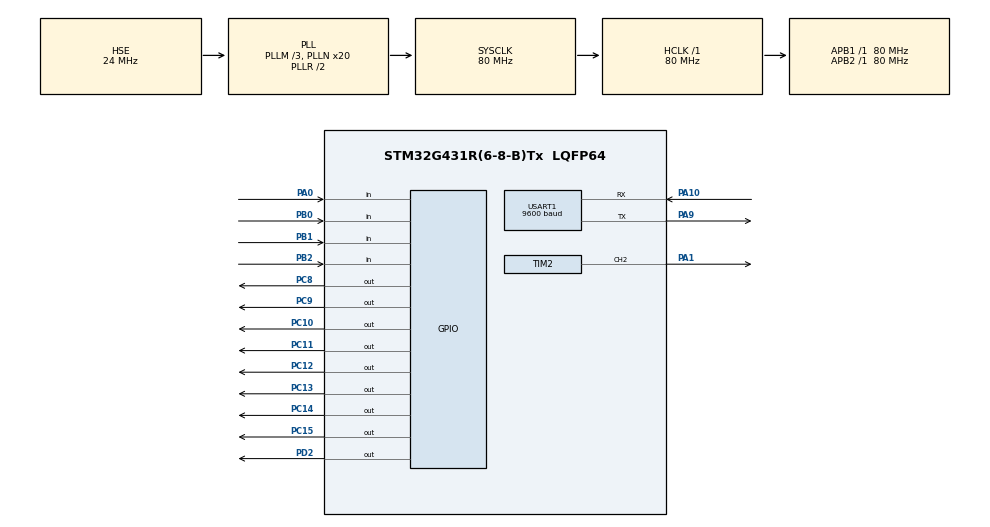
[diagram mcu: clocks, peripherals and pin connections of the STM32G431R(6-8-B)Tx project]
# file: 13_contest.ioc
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Mcu.Family=STM32G4
Mcu.Name=STM32G431R(6-8-B)Tx
Mcu.Package=LQFP64
NVIC.PriorityGroup=NVIC_PRIORITYGROUP_4
NVIC.TIM2_IRQn=true\:0\:0\:false\:false\:true\:true\:true\:true
NVIC.TIM4_IRQn=true\:0\:0\:false\:false\:true\:true\:true\:true
NVIC.USART1_IRQn=true\:0\:0\:false\:false\:true\:true\:true\:true
PA0.GPIO_PuPd=GPIO_PULLUP
PA0.Signal=GPIO_Input
PA1.Signal=S_TIM2_CH2
PA10.Mode=Asynchronous
PA10.Signal=USART1_RX
PA13.Mode=Serial_Wire
PA13.Signal=SYS_JTMS-SWDIO
PA14.Mode=Serial_Wire
PA14.Signal=SYS_JTCK-SWCLK
PA9.Mode=Asynchronous
PA9.Signal=USART1_TX
PB0.GPIO_PuPd=GPIO_PULLUP
PB0.Signal=GPIO_Input
PB1.GPIO_PuPd=GPIO_PULLUP
PB1.Signal=GPIO_Input
PB2.GPIO_PuPd=GPIO_PULLUP
PB2.Signal=GPIO_Input
PC10.PinState=GPIO_PIN_SET
PC10.Signal=GPIO_Output
PC11.PinState=GPIO_PIN_SET
PC11.Signal=GPIO_Output
PC12.PinState=GPIO_PIN_SET
PC12.Signal=GPIO_Output
PC13.PinState=GPIO_PIN_SET
PC13.Signal=GPIO_Output
PC14-OSC32_IN.PinState=GPIO_PIN_SET
PC14-OSC32_IN.Signal=GPIO_Output
PC15-OSC32_OUT.PinState=GPIO_PIN_SET
PC15-OSC32_OUT.Signal=GPIO_Output
PC8.PinState=GPIO_PIN_SET
PC8.Signal=GPIO_Output
PC9.PinState=GPIO_PIN_SET
PC9.Signal=GPIO_Output
PD2.Signal=GPIO_Output
PF0-OSC_IN.Mode=HSE-External-Oscillator
PF0-OSC_IN.Signal=RCC_OSC_IN
PF1-OSC_OUT.Mode=HSE-External-Oscillator
PF1-OSC_OUT.Signal=RCC_OSC_OUT
ProjectManager.HeapSize=0x200
ProjectManager.StackSize=0x400
ProjectManager.TargetToolchain=MDK-ARM V5
RCC.ADC12Freq_Value=80000000
RCC.AHBFreq_Value=80000000
RCC.APB1Freq_Value=80000000
RCC.APB1TimFreq_Value=80000000
RCC.APB2Freq_Value=80000000
RCC.APB2TimFreq_Value=80000000
RCC.CortexFreq_Value=80000000
RCC.EXTERNAL_CLOCK_VALUE=12288000
RCC.HCLKFreq_Value=80000000
RCC.HSE_VALUE=24000000
RCC.HSI48_VALUE=48000000
RCC.HSI_VALUE=16000000
RCC.LSE_VALUE=32768
RCC.PLLM=RCC_PLLM_DIV3
RCC.PLLN=20
RCC.PLLSourceVirtual=RCC_PLLSOURCE_HSE
RCC.SYSCLKFreq_VALUE=80000000
RCC.SYSCLKSource=RCC_SYSCLKSOURCE_PLLCLK
RCC.USBFreq_Value=80000000
RCC.VCOOutputFreq_Value=160000000
SH.S_TIM2_CH2.0=TIM2_CH2,PWM Generation2 CH2
TIM2.Channel-PWM\ Generation2\ CH2=TIM_CHANNEL_2
TIM2.PeriodNoDither=1000-1
TIM2.Prescaler=80-1
TIM2.PulseNoDither_2=10
TIM4.PeriodNoDither=10000-1
TIM4.Prescaler=79
USART1.BaudRate=9600
USART1.VirtualMode-Asynchronous=VM_ASYNC
VP_SYS_VS_DBSignals.Mode=DisableDeadBatterySignals
VP_TIM2_VS_ClockSourceINT.Mode=Internal
VP_TIM4_VS_ClockSourceINT.Mode=Internal
board=custom

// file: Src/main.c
/* USER CODE BEGIN Header */
/**
 ******************************************************************************
 * @file           : main.c
 * @brief          : Main program body
 ******************************************************************************
 * @attention
 *
 * <h2><center>&copy; Copyright (c) 2023 STMicroelectronics.
 * All rights reserved.</center></h2>
 *
 * This software component is licensed by ST under BSD 3-Clause license,
 * the "License"; You may not use this file except in compliance with the
 * License. You may obtain a copy of the License at:
 *                        opensource.org/licenses/BSD-3-Clause
 *
 ******************************************************************************
 */
/* USER CODE END Header */
#include "main.h"
#include "tim.h"
#include "usart.h"
#include "gpio.h"

/* USER CODE BEGIN Includes */
#include "lcd_hal.h"
#include "stdio.h"
#include "string.h"
#include "interrupt.h"

extern struct keys key[5];
extern char re_date[30];
extern unsigned char rx_str;
extern uint8_t rx_date;

extern uint16_t led_tt;
extern uint16_t led_ref;
extern uint8_t led_5;

uint8_t LCD_show = 0;

char lcd_txt[30];
struct bpsd {
    unsigned char bpsd_1;
    unsigned char bpsd_2;
};

bool password_right = 0;

char password_text[4]   = {'0', '0', '0', '\0'};
char password[4]        = {'1', '2', '3', '\0'};
char password_incorrect = 0;
char incorrect_ref      = 0;

struct bpsd psd[3] = {0, 0};

/* USER CODE END Includes */

void SystemClock_Config(void);

/* USER CODE BEGIN 0 */
void LCD_Display()
{
    if (LCD_show == 0) {
        sprintf(lcd_txt, "       PSD          ");
        LCD_DisplayStringLine(Line1, (uint8_t *)lcd_txt);
        if (psd[0].bpsd_1 == 0) {
            sprintf(lcd_txt, "    B1:@           ");
            LCD_DisplayStringLine(Line3, (uint8_t *)lcd_txt);
        }
        if (psd[1].bpsd_1 == 0) {
            sprintf(lcd_txt, "    B2:@           ");
            LCD_DisplayStringLine(Line4, (uint8_t *)lcd_txt);
        }
        if (psd[2].bpsd_1 == 0) {
            sprintf(lcd_txt, "    B3:@           ");
            LCD_DisplayStringLine(Line5, (uint8_t *)lcd_txt);
        }
        if (psd[0].bpsd_1 != 0) {
            sprintf(lcd_txt, "    B1:%c           ", psd[0].bpsd_1);
            LCD_DisplayStringLine(Line3, (uint8_t *)lcd_txt);
        }
        if (psd[1].bpsd_1 != 0) {
            sprintf(lcd_txt, "    B2:%c           ", psd[1].bpsd_1);
            LCD_DisplayStringLine(Line4, (uint8_t *)lcd_txt);
        }
        if (psd[2].bpsd_1 != 0) {
            sprintf(lcd_txt, "    B3:%c           ", psd[2].bpsd_1);
            LCD_DisplayStringLine(Line5, (uint8_t *)lcd_txt);
        }
    } else if (LCD_show == 1) {
        sprintf(lcd_txt, "       STA          ");
        LCD_DisplayStringLine(Line1, (uint8_t *)lcd_txt);
        sprintf(lcd_txt, "    F:2000HZ        ");
        LCD_DisplayStringLine(Line3, (uint8_t *)lcd_txt);
        sprintf(lcd_txt, "    F:10%%          ");
        LCD_DisplayStringLine(Line4, (uint8_t *)lcd_txt);
        sprintf(lcd_txt, "                    ");
        LCD_DisplayStringLine(Line5, (uint8_t *)lcd_txt);
    }
}
void pds_real()
{
    for (int i = 0; i < 3; i++) {
        switch (psd[i].bpsd_2) {
            case 1:
                psd[i].bpsd_1 = '0';
                break;
            case 2:
                psd[i].bpsd_1 = '1';
                break;
            case 3:
                psd[i].bpsd_1 = '2';
                break;
            case 4:
                psd[i].bpsd_1 = '3';
                break;
            case 5:
                psd[i].bpsd_1 = '4';
                break;
            case 6:
                psd[i].bpsd_1 = '5';
                break;
            case 7:
                psd[i].bpsd_1 = '6';
                break;
            case 8:
                psd[i].bpsd_1 = '7';
                break;
            case 9:
                psd[i].bpsd_1 = '8';
                break;
            case 10:
                psd[i].bpsd_1 = '9';
                break;
        }
    }
}
void scan_real()
{
    if (key[0].sing_flag == 1) {
        if (LCD_show == 0) {
            psd[0].bpsd_2++;
            if (psd[0].bpsd_2 == 11) psd[0].bpsd_2 = 1;
        }
        key[0].sing_flag = 0;
    }
    if (key[1].sing_flag == 1) {
        if (LCD_show == 0) {
            psd[1].bpsd_2++;
            if (psd[1].bpsd_2 == 11) psd[1].bpsd_2 = 1;
        }
        key[1].sing_flag = 0;
    }
    if (key[2].sing_flag == 1) {
        if (LCD_show == 0) {
            psd[2].bpsd_2++;
            if (psd[2].bpsd_2 == 11) psd[2].bpsd_2 = 1;
        }
        key[2].sing_flag = 0;
    }
    if (key[3].sing_flag == 1) {
        if ((psd[0].bpsd_1 == password[0]) && (psd[1].bpsd_1 == password[1]) && (psd[2].bpsd_1 == password[2])) {
            password_right = 1;
            led_5          = 0;
            led_ref        = 0;
            if (++LCD_show == 2) {
                LCD_show       = 0;
                password_right = 0;
                psd[0].bpsd_1  = 0;
                psd[0].bpsd_2  = 0;
                psd[1].bpsd_1  = 0;
                psd[1].bpsd_2  = 0;
                psd[2].bpsd_1  = 0;
                psd[2].bpsd_2  = 0;
            }
        } else if ((psd[0].bpsd_1 != password[0]) || (psd[1].bpsd_1 != password[1]) || (psd[2].bpsd_1 != password[2])) {
            psd[0].bpsd_1 = 0;
            psd[0].bpsd_2 = 0;
            psd[1].bpsd_1 = 0;
            psd[1].bpsd_2 = 0;
            psd[2].bpsd_1 = 0;
            psd[2].bpsd_2 = 0;
            password_incorrect++;
            if (password_incorrect == 3) {
                password_incorrect = 0;
                incorrect_ref      = 1;
                led_ref            = 0;
            }
        }
        key[3].sing_flag = 0;
    }
}

void Receive_real()
{
    if (rx_str > 0) {
        if (rx_str == 7) {
            sscanf(re_date, "%3s", password_text);
            if ((password_text[0] == password[0]) && (password_text[1] == password[1]) && (password_text[2] == password[2])) {
                sscanf(re_date, "%*[^-]-%s", password);
                sprintf(lcd_txt, "change password successful\r\n");
                HAL_UART_Transmit(&huart1, (uint8_t *)lcd_txt, strlen(lcd_txt), 50);
            } else if ((password_text[0] != password[0]) || (password_text[1] != password[1]) || (password_text[2] != password[2])) {
                sprintf(lcd_txt, "password Error\r\n");
                HAL_UART_Transmit(&huart1, (uint8_t *)lcd_txt, strlen(lcd_txt), 50);
            }
        } else {
            sprintf(lcd_txt, "Error!!!\r\n");
            HAL_UART_Transmit(&huart1, (uint8_t *)lcd_txt, strlen(lcd_txt), 50);
        }
        rx_str = 0;
        memset(re_date, 0, 30);
    }
}
/* USER CODE END 0 */

int main(void)
{

    /* MCU Configuration--------------------------------------------------------*/

    /* Reset of all peripherals, Initializes the Flash interface and the Systick. */
    HAL_Init();

    /* Configure the system clock */
    SystemClock_Config();

    /* Initialize all configured peripherals */
    MX_GPIO_Init();
    MX_USART1_UART_Init();
    MX_TIM2_Init();
    MX_TIM4_Init();
    /* USER CODE BEGIN 2 */
    HAL_TIM_Base_Start_IT(&htim4);
    HAL_TIM_PWM_Start(&htim2, TIM_CHANNEL_2);
    __HAL_TIM_SetCompare(&htim2, TIM_CHANNEL_2, 500);

    LED_real(0x01);

    LCD_Init();
    LCD_Clear(Black);
    LCD_SetTextColor(White);
    LCD_SetBackColor(Black);
    HAL_UART_Receive_IT(&huart1, &rx_date, 1);

    //	sscanf((char*)123,"%3s",password);
    /* USER CODE END 2 */

    /* Infinite loop */
    /* USER CODE BEGIN WHILE */
    while (1) {
        LCD_Display();
        pds_real();
        scan_real();
        if (rx_str != 0) {
            int temp = rx_date;
            HAL_Delay(1);
            if (temp == rx_date) Receive_real();
        }
        if (incorrect_ref == 1) {
            if (led_tt <= 10) {
                LED_real(0x02);
            } else if (led_tt > 10) {
                LED_real(0x00);
            }
            if (led_5 == 1) {
                incorrect_ref = 0;
                LED_real(0x00);
                led_5 = 0;
            }
        }
        if (password_right == 1) {
            LED_real(0x01);
            __HAL_TIM_SetCompare(&htim2, TIM_CHANNEL_2, 50);
            if (led_5 == 1) {
                password_right = 0;
                LED_real(0x00);
                led_5         = 0;
                LCD_show      = 0;
                psd[0].bpsd_1 = 0;
                psd[0].bpsd_2 = 0;
                psd[1].bpsd_1 = 0;
                psd[1].bpsd_2 = 0;
                psd[2].bpsd_1 = 0;
                psd[2].bpsd_2 = 0;
            }
        } else if (incorrect_ref != 2) {
            __HAL_TIM_SetCompare(&htim2, TIM_CHANNEL_2, 500);
        }
        /* USER CODE END WHILE */

    }
}

void SystemClock_Config(void)
{
    RCC_OscInitTypeDef RCC_OscInitStruct = {0};
    RCC_ClkInitTypeDef RCC_ClkInitStruct = {0};

    /** Configure the main internal regulator output voltage
     */
    HAL_PWREx_ControlVoltageScaling(PWR_REGULATOR_VOLTAGE_SCALE1);

    /** Initializes the RCC Oscillators according to the specified parameters
     * in the RCC_OscInitTypeDef structure.
     */
    RCC_OscInitStruct.OscillatorType = RCC_OSCILLATORTYPE_HSE;
    RCC_OscInitStruct.HSEState       = RCC_HSE_ON;
    RCC_OscInitStruct.PLL.PLLState   = RCC_PLL_ON;
    RCC_OscInitStruct.PLL.PLLSource  = RCC_PLLSOURCE_HSE;
    RCC_OscInitStruct.PLL.PLLM       = RCC_PLLM_DIV3;
    RCC_OscInitStruct.PLL.PLLN       = 20;
    RCC_OscInitStruct.PLL.PLLP       = RCC_PLLP_DIV2;
    RCC_OscInitStruct.PLL.PLLQ       = RCC_PLLQ_DIV2;
    RCC_OscInitStruct.PLL.PLLR       = RCC_PLLR_DIV2;
    if (HAL_RCC_OscConfig(&RCC_OscInitStruct) != HAL_OK) {
        Error_Handler();
    }

    /** Initializes the CPU, AHB and APB buses clocks
     */
    RCC_ClkInitStruct.ClockType      = RCC_CLOCKTYPE_HCLK | RCC_CLOCKTYPE_SYSCLK | RCC_CLOCKTYPE_PCLK1 | RCC_CLOCKTYPE_PCLK2;
    RCC_ClkInitStruct.SYSCLKSource   = RCC_SYSCLKSOURCE_PLLCLK;
    RCC_ClkInitStruct.AHBCLKDivider  = RCC_SYSCLK_DIV1;
    RCC_ClkInitStruct.APB1CLKDivider = RCC_HCLK_DIV1;
    RCC_ClkInitStruct.APB2CLKDivider = RCC_HCLK_DIV1;

    if (HAL_RCC_ClockConfig(&RCC_ClkInitStruct, FLASH_LATENCY_2) != HAL_OK) {
        Error_Handler();
    }
}

void Error_Handler(void)
{
}
